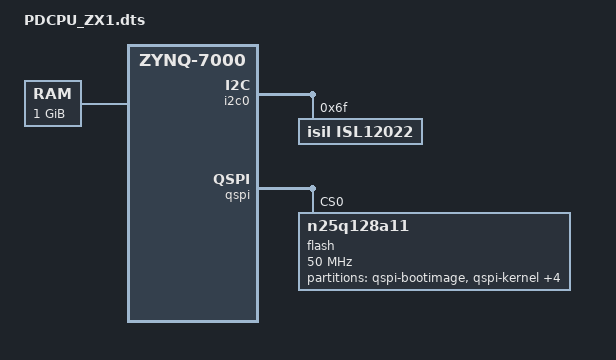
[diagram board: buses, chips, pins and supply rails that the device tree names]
/*
 * Created By: Vedran Jerbic
 * Checked By: Vilko Cindric
 * Company: Koncar IET
 * Version: v1.0  
 * Today is: Wed Oct 31 12:25:02 2018
 */


/dts-v1/;
/include/ "zynq-7000.dtsi"
/include/ "pcw.dtsi"
/include/ "pl.dtsi"
/ {
	chosen {
		/* Copied from Enclustra ZX1 DTB */
		bootargs = "console=ttyPS0,115200 rw earlyprintk rootwait root=/dev/mmcblk0p2 uio_pdrv_genirq.of_id=generic-uio";
		linux,stdout-path = "/amba/serial@e0000000";
		
		
	/*	bootargs = "earlycon";
		stdout-path = "serial0:115200n8"; */
	};
	aliases {
		ethernet0 = &gem0;
		i2c0 = &i2c0;
		serial0 = &uart0;
		spi0 = &qspi;
	};
	memory {
		device_type = "memory";
		reg = <0x0 0x40000000>;
	};
	
};
	
/* PL compatible / driver modifications */
&TBIM_0_TBIM_IF_0{
	compatible = "generic-uio";
};

&TBIM_0_TRAN_REC_0{
	compatible = "generic-uio";
};

/* Specify I2C devices and their I2C Slave Address */
	&i2c0{			
		/* RTC - disabled by default */			
		pcf85063@51 {
			status = "disabled";
			compatible = "nxp,pcf85063";
			reg = <0x51>;
		};

		/* RTC - enabled by default */
		isl12022@68 {
			status = "okay";
			compatible = "isil,isl12022";
			reg = <0x6f>;
		};		
	};
	
&qspi{			
	/* Partitioning */
	flash@0 {
		compatible = "n25q128a11";
		reg = <0x0>;
		spi-tx-bus-width = <0x1>;
		spi-rx-bus-width = <0x4>;
		spi-max-frequency = <0x2faf080>;
		#address-cells = <0x1>;
		#size-cells = <0x1>;

		partition@qspi-bootimage {
			label = "qspi-bootimage";
			reg = <0x0 0x700000>;
		};

		partition@qspi-kernel {
			label = "qspi-kernel";
			reg = <0x700000 0x500000>;
		};

		partition@qspi-device-tree {
			label = "qspi-device-tree";
			reg = <0xc00000 0x80000>;
		};

		partition@qspi-bootargs {
			label = "qspi-bootargs";
			reg = <0x3f80000 0x80000>;
		};

		partition@qspi-bootscript {
			label = "qspi-bootscript";
			reg = <0xc80000 0x80000>;
		};

		partition@qspi-rootfs {
			label = "qspi-rootfs";
			reg = <0xd00000 0x3280000>;
		};
	};
};
	


